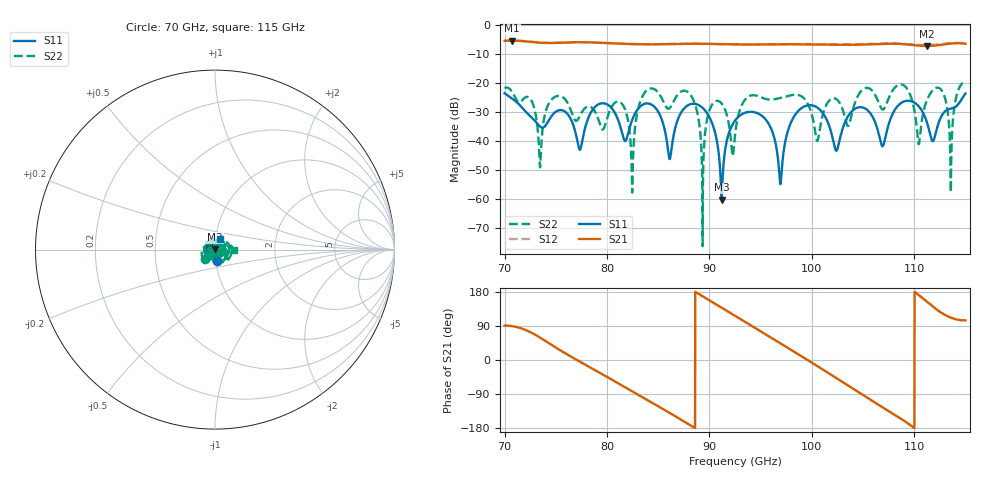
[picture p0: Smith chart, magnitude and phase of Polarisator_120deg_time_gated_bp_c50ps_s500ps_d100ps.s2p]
# Hz S RI R 1.000000
! Metas.Vna.Tools, 2.4.7898.19887
! Metas.Vna.Data, 2.4.7898.19873
! Created: UTC 2021.09.30 14:30:59
! FREQ  re:S1,1  im:S1,1  re:S2,1  im:S2,1  re:S1,2  im:S1,2  re:S2,2  im:S2,2
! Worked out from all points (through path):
!   2251 points, 70 GHz to 115 GHz, reference 1 ohm
!   highest |S21| = -5.55 dB at 70.72 GHz (marker M1); lowest = -7.4 dB at 111.2 GHz (marker M2)
!   lowest |S11| = -60.4 dB at 91.2 GHz (marker M3), VSWR 1.00, Z = 1 + j0.00187 ohm
!   |S11| at or under -10 dB: start of sweep to end of sweep
!   |S22| runs from -76.4 to -19.7 dB; largest |S21 - S12| = 0.098
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7e10  0.0124 -0.0645  -0.00651 0.5221  -0.0261 0.5251  -0.0582 -0.0546
7.072e10  0.015 -0.0513  0.00523 0.5277  -0.0143 0.5317  -0.0694 -0.00292
7.346e10  -0.0144 -0.00995  0.2497 0.4176  0.2406 0.4251  -0.00249 -0.00242
7.474e10  -0.0176 -0.0225  0.3831 0.2913  0.38 0.2978  0.036 0.0403
7.75e10  0.00823 -0.000307  0.4923 -0.0573  0.4947 -0.0553  -0.00421 0.0295
8.134e10  -0.0146 0.00767  0.1952 -0.4247  0.1996 -0.4241  0.0391 -0.0227
8.246e10  -0.0177 -0.0142  0.0591 -0.4565  0.0642 -0.4569  -0.00126 0.000166
8.5e10  -0.0124 0.0289  -0.2418 -0.3877  -0.2378 -0.3927  -0.0112 -0.0662
8.614e10  0.00431 -0.00217  -0.3529 -0.2961  -0.3506 -0.3025  -0.0115 0.0347
8.82e10  -0.0394 0.0165  -0.4634 -0.0552  -0.4644 -0.061  0.00554 -0.0597
8.934e10  -0.00675 0.036  -0.4562 0.0949  -0.4583 0.0908  8.43e-05 0.000126
9.12e10  -0.000203 0.000938  -0.341 0.3076  -0.3445 0.3064  -0.0173 -0.0401
9.25e10  -0.00626 0.0212  -0.2046 0.4059  -0.2093 0.4064  0.0124 0.00135
9.544e10  0.00987 -0.0216  0.1662 0.4233  0.1607 0.4286  0.0102 0.0516
9.694e10  -0.00101 0.00146  0.3298 0.3173  0.3275 0.3241  -0.00705 -0.0538
1e11  -0.011 -0.039  0.4508 -0.0547  0.4569 -0.0515  0.0204 -0.0191
1.0238e11  -0.00433 -0.00511  0.3038 -0.3297  0.3146 -0.3303  0.0505 -0.0127
1.075e11  -0.00636 -0.0178  -0.3275 -0.3334  -0.3139 -0.3548  0.0101 0.0524
1.1046e11  -0.0309 0.0233  -0.4272 0.068  -0.4449 0.0334  -0.00577 0.00653
1.1122e11  -0.0121 0.0175  -0.3836 0.1863  -0.4168 0.1492  0.0484 0.00333
1.1358e11  -0.0338 0.0114  -0.1749 0.4368  -0.2586 0.403  0.00127 -0.000219
1.15e11  0.0302 0.0574  -0.1184 0.4516  -0.2126 0.4259  0.1036 -0.00335
